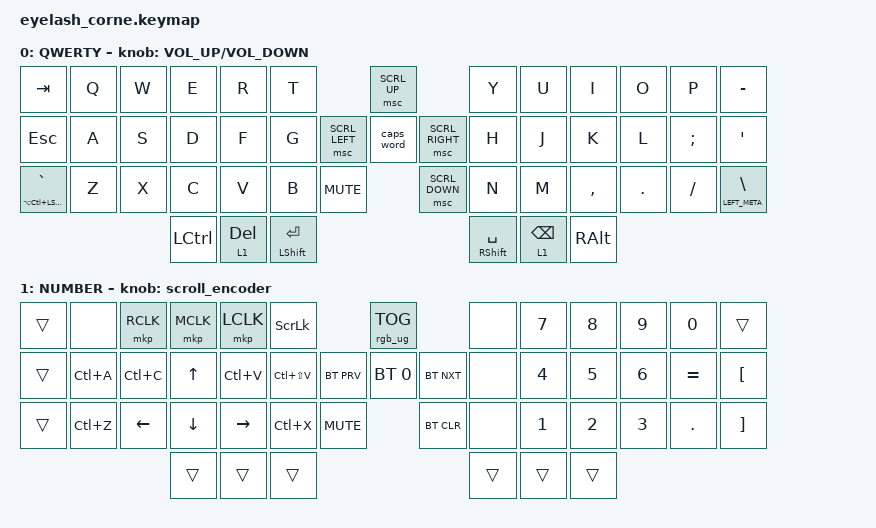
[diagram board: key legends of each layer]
#define ZMK_POINTING_DEFAULT_MOVE_VAL 1200  // 600
#define ZMK_POINTING_DEFAULT_SCRL_VAL 25   // 10

#include <input/processors.dtsi>
#include <zephyr/dt-bindings/input/input-event-codes.h>
#include <behaviors.dtsi>
#include <dt-bindings/zmk/bt.h>
#include <dt-bindings/zmk/keys.h>
#include <dt-bindings/zmk/pointing.h>
#include <dt-bindings/zmk/rgb.h>

&mmv_input_listener { input-processors = <&zip_xy_scaler 2 1>; };

&msc_input_listener { input-processors = <&zip_scroll_scaler 2 1>; };

&msc {
    acceleration-exponent = <1>;      // 0
    time-to-max-speed-ms = <100>;       // 300
    delay-ms = <0>;                   // 0
};

&mmv {
    time-to-max-speed-ms = <500>;
    acceleration-exponent = <1>;
    trigger-period-ms = <16>;
};

/ {
    behaviors {
        td0: td0 {
            compatible = "zmk,behavior-tap-dance";
            display-name = "Shift/Caps Lock Tap Dance";
            #binding-cells = <0>;
            bindings = <&kp LEFT_SHIFT>, <&kp CAPS>;
        };
    };

    rgb_encoder: rgb_encoder {
        compatible = "zmk,behavior-sensor-rotate";
        #sensor-binding-cells = <0>;
        bindings = <&rgb_ug RGB_BRI>, <&rgb_ug RGB_BRD>;
    };

    scroll_encoder: scroll_encoder {
        compatible = "zmk,behavior-sensor-rotate";
        #sensor-binding-cells = <0>;
        bindings = <&msc SCRL_DOWN>, <&msc SCRL_UP>;

        tap-ms = <100>;
    };

    keymap {
        compatible = "zmk,keymap";

        default_layer {
            display-name = "QWERTY";
            bindings = <
&kp TAB                       &kp Q  &kp W  &kp E      &kp R      &kp T                                               &msc SCRL_UP                     &kp Y                  &kp U            &kp I      &kp O    &kp P     &kp MINUS
&kp ESC                       &kp A  &kp S  &kp D      &kp F      &kp G                               &msc SCRL_LEFT  &caps_word      &msc SCRL_RIGHT  &kp H                  &kp J            &kp K      &kp L    &kp SEMI  &kp SQT
&mt LA(LC(LEFT_SHIFT)) GRAVE  &kp Z  &kp X  &kp C      &kp V      &kp B                 &kp K_MUTE                    &msc SCRL_DOWN                   &kp N                  &kp M            &kp COMMA  &kp DOT  &kp FSLH  &mt LEFT_META BACKSLASH
                                            &kp LCTRL  &lt 1 DEL  &mt LEFT_SHIFT ENTER                                                                 &mt RIGHT_SHIFT SPACE  &lt 1 BACKSPACE  &kp RALT
            >;

            sensor-bindings = <&inc_dec_kp C_VOLUME_UP C_VOLUME_DOWN>;
        };

        lower_layer {
            display-name = "NUMBER";
            bindings = <
&trans  &none      &mkp RCLK  &mkp MCLK  &mkp LCLK  &kp SCROLLLOCK                            &rgb_ug RGB_TOG              &none   &kp N7        &kp N8        &kp N9        &kp N0      &trans
&trans  &kp LC(A)  &kp LC(C)  &kp UP     &kp LC(V)  &kp LC(LS(V))                 &bt BT_PRV  &bt BT_SEL 0     &bt BT_NXT  &none   &kp NUMBER_4  &kp N5        &kp NUMBER_6  &kp EQUAL   &kp LEFT_BRACKET
&trans  &kp LC(Z)  &kp LEFT   &kp DOWN   &kp RIGHT  &kp LC(X)       &kp C_MUTE                &bt BT_CLR                   &none   &kp NUMBER_1  &kp NUMBER_2  &kp NUMBER_3  &kp PERIOD  &kp RIGHT_BRACKET
                              &trans     &trans     &trans                                                                 &trans  &trans        &trans
            >;

            sensor-bindings = <&scroll_encoder>;
        };
    };
};
